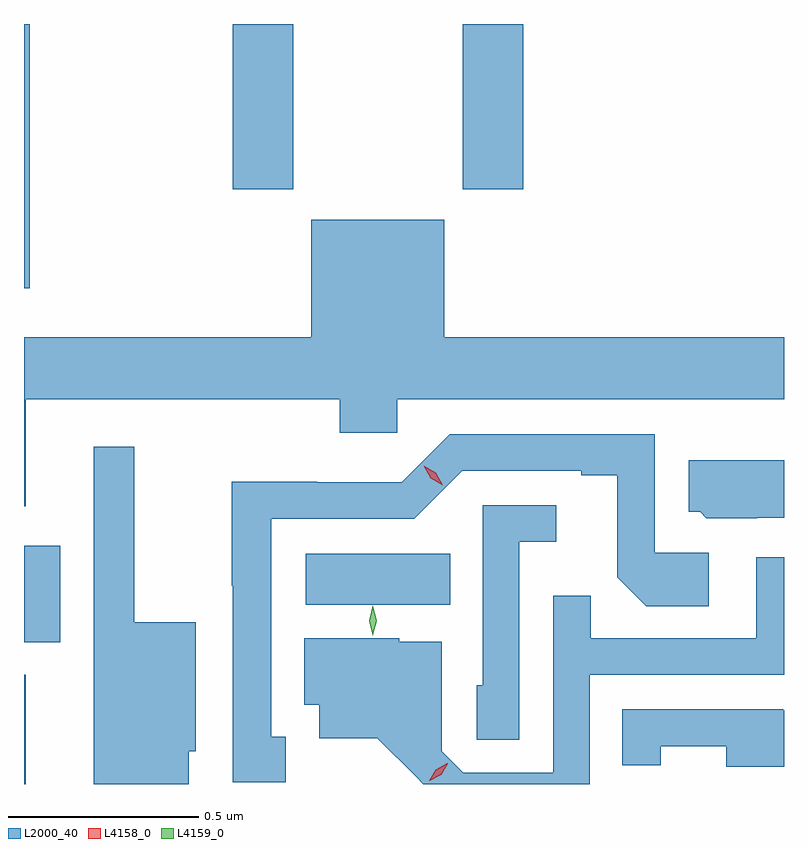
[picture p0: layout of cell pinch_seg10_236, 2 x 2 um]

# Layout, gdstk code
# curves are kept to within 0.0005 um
import gdstk
lib = gdstk.Library(unit=1e-6, precision=1e-09)
def R(c, l, rs):  # rectangles x0, y0, x1, y1
    for r in rs: c.add(gdstk.rectangle(r[:2], r[2:], *l))
def P(c, l, *ps):  # polygons
    for p in ps: c.add(gdstk.Polygon(p, *l))
L2000_40 = (2000, 40)
L4158_0 = (4158, 0)
L4159_0 = (4159, 0)

pinch_seg10_236 = lib.new_cell('pinch_seg10_236')
R(pinch_seg10_236, L2000_40, [(623.924,1295.308,623.929,1295.596), (623.924,1295.681,624.019,1295.935), (624.666,1295.78,625.046,1295.914), (623.924,1296.612,623.939,1297.308), (624.473,1296.873,624.633,1297.308), (625.078,1296.873,625.238,1297.308)])
P(pinch_seg10_236, L2000_40, [(623.929,1296.32),(624.755,1296.32),(624.755,1296.232),(624.906,1296.232),(624.906,1296.32),(625.924,1296.32),(625.924,1296.484),(625.03,1296.484),(625.03,1296.793),(624.68,1296.793),(624.68,1296.484),(623.924,1296.484),(623.924,1296.039),(623.929,1296.039)],
  [(624.613,1295.433),(624.574,1295.433),(624.574,1296.006),(624.951,1296.006),(625.077,1296.132),(625.391,1296.132),(625.391,1296.12),(625.485,1296.12),(625.485,1295.852),(625.561,1295.776),(625.726,1295.776),(625.726,1295.916),(625.584,1295.916),(625.584,1296.228),(625.044,1296.228),(624.918,1296.102),(624.696,1296.102),(624.696,1296.104),(624.471,1296.104),(624.471,1295.83),(624.473,1295.83),(624.473,1295.313),(624.613,1295.313)],
  [(624.358,1295.394),(624.376,1295.394),(624.376,1295.734),(624.214,1295.734),(624.214,1296.196),(624.107,1296.196),(624.107,1295.308),(624.358,1295.308)],
  [(625.854,1296.009),(625.924,1296.009),(625.924,1296.16),(625.673,1296.16),(625.673,1296.024),(625.704,1296.024),(625.72,1296.008),(625.854,1296.008)],
  [(625.227,1295.945),(625.324,1295.945),(625.324,1296.042),(625.131,1296.042),(625.131,1295.568),(625.116,1295.568),(625.116,1295.425),(625.227,1295.425)],
  [(625.413,1295.595),(625.924,1295.595),(625.924,1295.905),(625.851,1295.905),(625.851,1295.691),(625.415,1295.691),(625.415,1295.804),(625.317,1295.804),(625.317,1295.337),(625.08,1295.337),(625.023,1295.394),(625.023,1295.683),(624.912,1295.683),(624.912,1295.692),(624.662,1295.692),(624.662,1295.516),(624.701,1295.516),(624.701,1295.429),(624.853,1295.429),(624.975,1295.308),(625.413,1295.308)],
  [(625.924,1295.502),(625.922,1295.502),(625.922,1295.505),(625.498,1295.505),(625.498,1295.358),(625.599,1295.358),(625.599,1295.407),(625.772,1295.407),(625.772,1295.354),(625.924,1295.354)])
P(pinch_seg10_236, L4158_0, [(624.991,1295.316),(624.991,1295.316),(625.008,1295.346),(625.038,1295.362),(625.039,1295.362),(625.039,1295.361),(625.022,1295.332),(624.992,1295.316)],
  [(625.026,1296.094),(624.994,1296.113),(624.976,1296.145),(624.976,1296.146),(624.976,1296.146),(625.008,1296.127),(625.026,1296.094),(625.026,1296.094)])
P(pinch_seg10_236, L4159_0, [(624.842,1295.698),(624.842,1295.699),(624.832,1295.738),(624.842,1295.777),(624.842,1295.777),(624.842,1295.777),(624.852,1295.738),(624.842,1295.699)])

lib.write_gds('pinch_seg10_236.gds')
